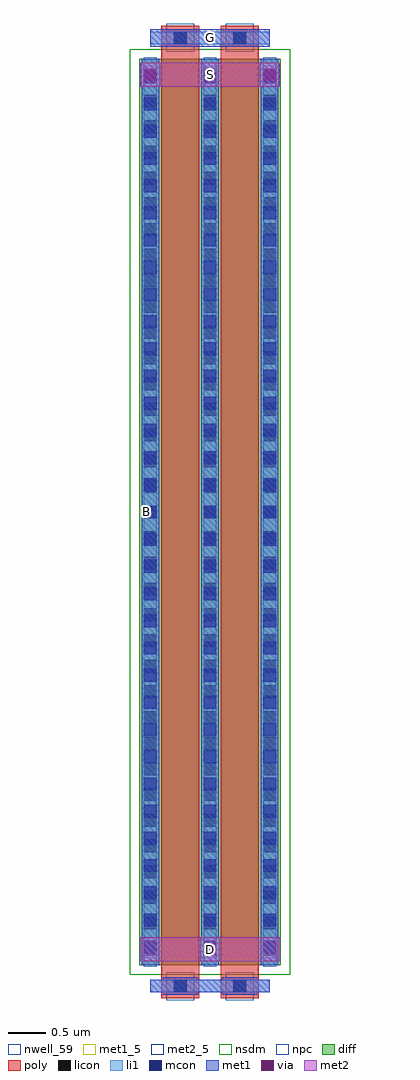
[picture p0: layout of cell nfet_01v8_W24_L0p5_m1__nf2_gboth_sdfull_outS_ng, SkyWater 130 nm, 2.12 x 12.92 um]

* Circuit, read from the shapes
.subckt nfet_01v8_W24_L0p5_m1__nf2_gboth_sdfull_outS_ng B D G S
XM1 D G S B sky130_fd_pr__nfet_01v8 w=12 l=0.5 m=2
.ends

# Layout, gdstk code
import gdstk
lib = gdstk.Library(unit=1e-6, precision=1e-09)
def R(c, l, rs):  # rectangles x0, y0, x1, y1
    for r in rs: c.add(gdstk.rectangle(r[:2], r[2:], *l))
def A(c, l, x, y, w, h, nx, ny, dx, dy):  # array of equal rectangles
    R(c, l, [(x+i*dx, y+j*dy, x+i*dx+w, y+j*dy+h) for i in range(nx) for j in range(ny)])
nwell_59 = (64, 59)
diff = (65, 20)
poly = (66, 20)
licon = (66, 44)
li1 = (67, 20)
mcon = (67, 44)
met1_5 = (68, 5)
met1 = (68, 20)
via = (68, 44)
met2_5 = (69, 5)
met2 = (69, 20)
nsdm = (93, 44)
npc = (95, 20)

sky130_fd_pr__nfet_01v8_ = lib.new_cell('sky130_fd_pr__nfet_01v8_BXZS2L')
R(sky130_fd_pr__nfet_01v8_, diff, [(-0.935,-6,0.935,6)])
R(sky130_fd_pr__nfet_01v8_, poly, [(-0.645,-6.44,-0.145,6.44), (0.145,-6.44,0.645,6.44)])
A(sky130_fd_pr__nfet_01v8_, licon, -0.875, -5.865, 0.17, 0.17, 3, 35, 0.79, 0.34)
R(sky130_fd_pr__nfet_01v8_, licon, [(-0.48,-6.36,-0.31,-6.19), (0.31,-6.36,0.48,-6.19), (-0.48,6.19,-0.31,6.36), (0.31,6.19,0.48,6.36)])
A(sky130_fd_pr__nfet_01v8_, li1, -0.875, -6.02, 0.17, 12.04, 3, 1, 0.79, 0)
R(sky130_fd_pr__nfet_01v8_, li1, [(-0.79,-6.36,0.79,-6.19), (-0.79,6.19,0.79,6.36)])
A(sky130_fd_pr__nfet_01v8_, mcon, -0.875, -5.845, 0.17, 0.17, 3, 33, 0.79, 0.36)
R(sky130_fd_pr__nfet_01v8_, mcon, [(-0.48,-6.36,-0.31,-6.19), (0.31,-6.36,0.48,-6.19), (-0.48,6.19,-0.31,6.36), (0.31,6.19,0.48,6.36)])
A(sky130_fd_pr__nfet_01v8_, met1, -0.905, -6, 0.23, 12, 3, 1, 0.79, 0)
R(sky130_fd_pr__nfet_01v8_, met1, [(-0.625,-6.39,-0.165,-6.36), (0.165,-6.39,0.625,-6.36), (-0.79,-6.36,0.79,-6.19), (-0.625,-6.19,-0.165,-6.16), (0.165,-6.19,0.625,-6.16), (-0.625,6.16,-0.165,6.19), (0.165,6.16,0.625,6.19), (-0.79,6.19,0.79,6.36), (-0.625,6.36,-0.165,6.39), (0.165,6.36,0.625,6.39)])
R(sky130_fd_pr__nfet_01v8_, nsdm, [(-1.06,-6.125,1.06,6.125)])
R(sky130_fd_pr__nfet_01v8_, npc, [(-0.58,-6.46,-0.21,-6.09), (0.21,-6.46,0.58,-6.09), (-0.58,6.09,-0.21,6.46), (0.21,6.09,0.58,6.46)])
sky130_fd_pr__nfet_01v8_.add(gdstk.Label('D0', (-0.79,0), layer=67, texttype=5))
sky130_fd_pr__nfet_01v8_.add(gdstk.Label('G', (0.395,6.275), layer=67, texttype=5))
sky130_fd_pr__nfet_01v8_.add(gdstk.Label('G', (-0.395,6.275), layer=67, texttype=5))
sky130_fd_pr__nfet_01v8_.add(gdstk.Label('S1', (0,0), layer=67, texttype=5))

nfet_01v8_w24_l0p5_m1__n = lib.new_cell('nfet_01v8_W24_L0p5_m1__nf2_gboth_sdfull_outS_ng')
R(nfet_01v8_w24_l0p5_m1__n, nwell_59, [(0.05,6.39,0.15,6.49)])
R(nfet_01v8_w24_l0p5_m1__n, met1_5, [(0.145,12.6,1.725,12.83)])
R(nfet_01v8_w24_l0p5_m1__n, met1, [(0.805,0.49,1.065,0.81), (0.015,12.07,0.275,12.39), (1.595,12.07,1.855,12.39), (0.145,12.6,1.725,12.83)])
R(nfet_01v8_w24_l0p5_m1__n, via, [(0.86,0.575,1.01,0.725), (0.07,12.155,0.22,12.305), (1.65,12.155,1.8,12.305)])
R(nfet_01v8_w24_l0p5_m1__n, met2_5, [(0.01,0.49,1.86,0.81), (0.01,12.07,1.86,12.39)])
R(nfet_01v8_w24_l0p5_m1__n, met2, [(0.01,0.49,1.86,0.81), (0.01,12.07,1.86,12.39)])
nfet_01v8_w24_l0p5_m1__n.add(gdstk.Reference(sky130_fd_pr__nfet_01v8_, (0.935,6.44)))
nfet_01v8_w24_l0p5_m1__n.add(gdstk.Label('S', (0.935,12.23), layer=69, texttype=5))
nfet_01v8_w24_l0p5_m1__n.add(gdstk.Label('D', (0.935,0.65), layer=69, texttype=5))
nfet_01v8_w24_l0p5_m1__n.add(gdstk.Label('G', (0.935,12.715), layer=68, texttype=5))
nfet_01v8_w24_l0p5_m1__n.add(gdstk.Label('B', (0.1,6.44), layer=64, texttype=59))

lib.write_gds('nfet_01v8_W24_L0p5_m1__nf2_gboth_sdfull_outS_ng.gds')
